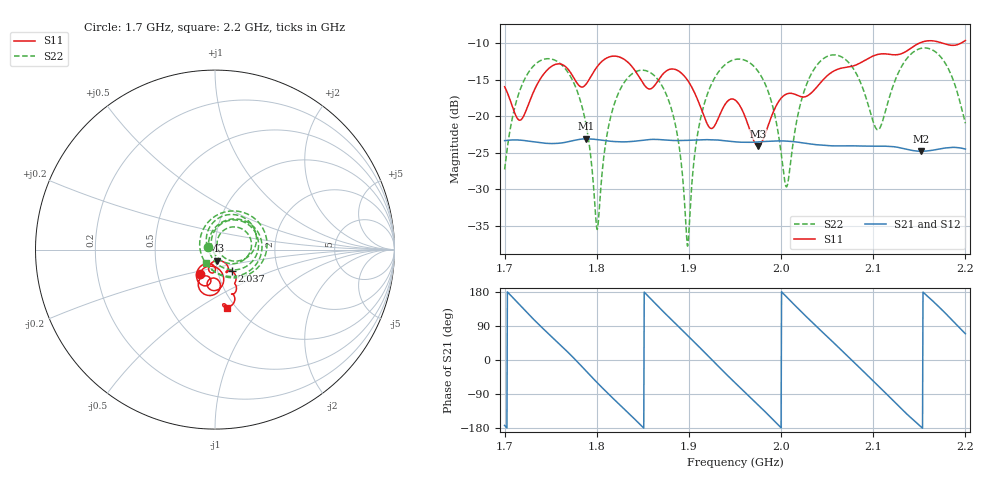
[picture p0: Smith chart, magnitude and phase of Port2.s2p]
# Hz S RI R 50
! CMT, CMT808U, 21440046, 21.4.3/4
! Date: 11/17/2025 2:27:32 PM
! Data: Format (Calibration Info)
! Freq	S11:Re/Im(F2)	S41:Re/Im(F2)	S14:Re/Im(F2)	S44:Re/Im(F2)
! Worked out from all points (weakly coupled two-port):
!   1001 points, 1.7 GHz to 2.2 GHz, reference 50 ohm
!   highest |S21| = -23.08 dB at 1.788 GHz (marker M1); lowest = -24.8 dB at 2.152 GHz (marker M2)
!   lowest |S11| = -24.1 dB at 1.975 GHz (marker M3), VSWR 1.13, Z = 50.5 - j6.28 ohm
!   |S11| at or under -10 dB: start of sweep to 2.15 GHz; 2.175 GHz to 2.195 GHz (19.77 MHz wide, 0.905 % of centre)
!   |S22| runs from -37.8 to -10.6 dB; largest |S21 - S12| = 0.00025
!   S11 on the Smith chart (normalised r, x): 1.7 GHz: 0.82, -0.23; 2.037 GHz: 1.17, -0.29; 2.2 GHz: 0.91, -0.66
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1.7e9  -0.0824 -0.1364  -0.0676 -0.00874  -0.0676 -0.00865  -0.0414 0.0127
1.7165e9  -0.0142 -0.093  -0.0562 0.0397  -0.0561 0.0398  -0.0119 0.1495
1.735e9  0.0479 -0.1568  -0.0101 0.0656  -0.01 0.0656  0.134 0.1893
1.7835e9  -0.00969 -0.1583  0.067 -0.0197  0.067 -0.0198  0.1014 -0.0637
1.7885e9  0.0127 -0.1658  0.0612 -0.0344  0.0612 -0.0345  0.0679 -0.0542
1.8005e9  0.0275 -0.217  0.0347 -0.0599  0.0347 -0.06  0.016 0.00516
1.811e9  -0.00431 -0.2509  0.00534 -0.0677  0.00524 -0.0678  0.0199 0.0715
1.8235e9  -0.058 -0.2491  -0.0282 -0.0607  -0.0284 -0.0607  0.0764 0.1221
1.867e9  -0.023 -0.1758  -0.0535 0.0442  -0.0534 0.0443  0.1685 -0.0509
1.8865e9  -0.0838 -0.19  -0.00416 0.0681  -0.00403 0.0682  0.0447 -0.0666
1.8985e9  -0.1032 -0.1432  0.029 0.0621  0.0291 0.062  -0.0119 -0.00493
1.916e9  -0.061 -0.081  0.0639 0.0265  0.0639 0.0265  0.00675 0.1175
1.95e9  -0.0264 -0.1266  0.0335 -0.0579  0.0334 -0.058  0.2267 0.0923
1.975e9  0.00845 -0.062  -0.0315 -0.0589  -0.0316 -0.0588  0.1835 -0.0877
2.006e9  0.0712 -0.123  -0.0658 0.0159  -0.0658 0.0161  -0.0322 -0.00683
2.0335e9  0.0864 -0.1176  -0.0112 0.0635  -0.0111 0.0635  0.1012 0.1709
2.0365e9  0.0936 -0.1206  -0.00335 0.064  -0.00323 0.0641  0.1293 0.1698
2.084e9  0.1151 -0.1974  0.0598 -0.0189  0.0598 -0.019  0.1055 -0.1496
2.104e9  0.1125 -0.2389  0.0267 -0.0564  0.0266 -0.0565  -0.0735 -0.0347
2.117e9  0.0938 -0.2487  -0.00645 -0.062  -0.00657 -0.062  -0.0647 0.1146
2.152e9  0.0989 -0.3048  -0.0576 -0.00336  -0.0575 -0.00321  0.2678 0.116
2.2e9  0.0672 -0.3234  0.0211 0.0558  0.0212 0.0558  -0.0513 -0.0735
